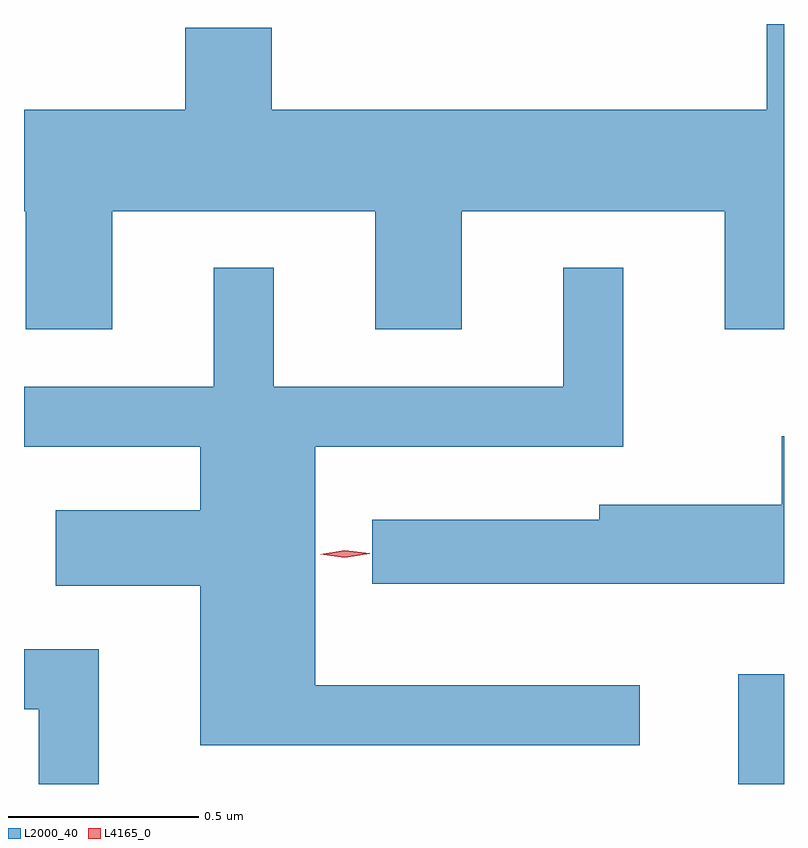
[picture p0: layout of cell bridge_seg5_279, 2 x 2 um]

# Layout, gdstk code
import gdstk
lib = gdstk.Library(unit=1e-6, precision=1e-09)
def R(c, l, rs):  # rectangles x0, y0, x1, y1
    for r in rs: c.add(gdstk.rectangle(r[:2], r[2:], *l))
def P(c, l, *ps):  # polygons
    for p in ps: c.add(gdstk.Polygon(p, *l))
L2000_40 = (2000, 40)
L4165_0 = (4165, 0)

bridge_seg5_279 = lib.new_cell('bridge_seg5_279')
R(bridge_seg5_279, L2000_40, [(948.846,1493.029,948.967,1493.318)])
P(bridge_seg5_279, L2000_40, [(947.199,1494.536),(947.891,1494.536),(947.891,1494.226),(948.119,1494.226),(948.119,1494.536),(948.811,1494.536),(948.811,1494.226),(948.967,1494.226),(948.967,1495.029),(948.921,1495.029),(948.921,1494.804),(947.619,1494.804),(947.619,1495.019),(947.391,1495.019),(947.391,1494.804),(946.967,1494.804),(946.967,1494.536),(946.971,1494.536),(946.971,1494.226),(947.199,1494.226)],
  [(948.588,1493.289),(947.734,1493.289),(947.734,1493.916),(948.544,1493.916),(948.544,1494.388),(948.386,1494.388),(948.386,1494.074),(947.624,1494.074),(947.624,1494.388),(947.466,1494.388),(947.466,1494.074),(946.967,1494.074),(946.967,1493.916),(947.431,1493.916),(947.431,1493.749),(947.051,1493.749),(947.051,1493.551),(947.431,1493.551),(947.431,1493.131),(948.588,1493.131)],
  [(948.967,1493.944),(948.961,1493.944),(948.961,1493.764),(948.481,1493.764),(948.481,1493.724),(947.883,1493.724),(947.883,1493.556),(948.967,1493.556)],
  [(947.164,1493.384),(946.967,1493.384),(946.967,1493.226),(947.006,1493.226),(947.006,1493.029),(947.164,1493.029)])
P(bridge_seg5_279, L4165_0, [(947.811,1493.624),(947.746,1493.633),(947.745,1493.634),(947.746,1493.634),(947.811,1493.644),(947.877,1493.636),(947.877,1493.635),(947.877,1493.635)])

lib.write_gds('bridge_seg5_279.gds')
